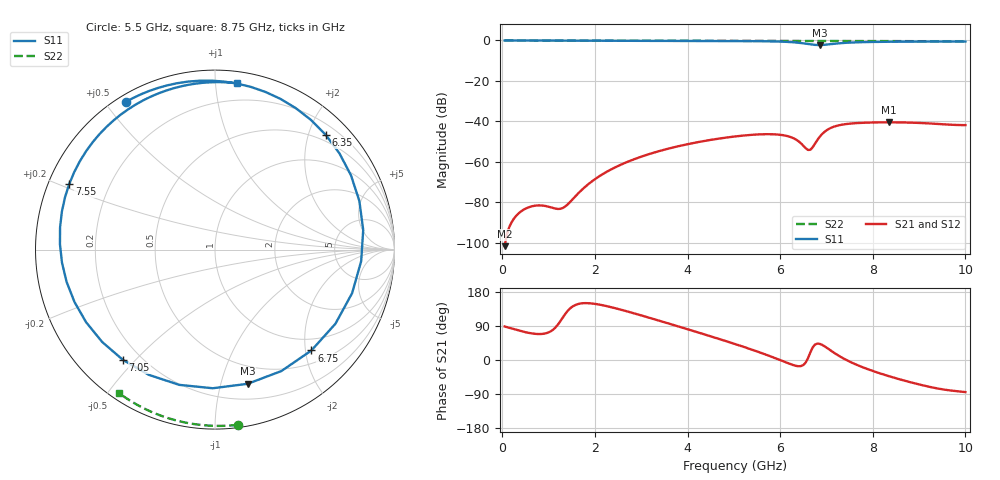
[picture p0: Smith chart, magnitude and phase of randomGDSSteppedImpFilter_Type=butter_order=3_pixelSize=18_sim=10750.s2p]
! freq	dB(S11)	phase(S11)	dB(S12)	phase(S12)
!  dB(S21)	phase(S21)	dB(S22)	phase(S22)
!S-par simulation data
#  GHz  S  DB  R 50
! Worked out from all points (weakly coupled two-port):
!   200 points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, 50 MHz to 10 GHz, reference 50 ohm
!   highest |S21| = -40.48 dB at 8.35 GHz (marker M1); lowest = -101.7 dB at 50 MHz (marker M2)
!   lowest |S11| = -2.3 dB at 6.85 GHz (marker M3), VSWR 7.68, Z = 16.6 - j60.9 ohm
!   |S11| at or under -10 dB: nowhere
!   |S22| runs from -0.5 to 0.0 dB; largest |S21 - S12| = 0
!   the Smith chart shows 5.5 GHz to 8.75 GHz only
!   S11 on the Smith chart (normalised r, x): 5.5 GHz: 0.03, +0.56; 6.35 GHz: 0.38, +2.30; 6.75 GHz: 0.75, -2.12; 7.05 GHz: 0.13, -0.46; 7.55 GHz: 0.06, +0.21; 8.75 GHz: 0.08, +1.14
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0.05  -0.00 -2.8  -101.72 88.4  -101.72 88.4  -0.00 -0.8
0.8  -0.05 -43.6  -81.56 68.5  -81.56 68.5  -0.01 -12.8
1.45  -0.09 -76.1  -80.21 134.6  -80.21 134.6  -0.03 -23.1
1.75  -0.10 -89.9  -73.18 149.9  -73.18 149.9  -0.04 -27.8
2.45  -0.13 -119.5  -62.61 136.4  -62.61 136.4  -0.05 -38.6
3.4  -0.16 -155.3  -54.63 103.3  -54.63 103.3  -0.07 -52.9
4.25  -0.20 174.2  -50.17 71.9  -50.17 71.9  -0.09 -65.2
5.05  -0.27 142.8  -47.40 41.2  -47.40 41.2  -0.12 -76.4
5.5  -0.34 121.1  -46.50 22.7  -46.50 22.7  -0.13 -82.6
6  -0.56 87.0  -46.64 -0.2  -46.64 -0.2  -0.16 -89.2
6.35  -1.03 46.0  -49.12 -15.6  -49.12 -15.6  -0.17 -93.8
6.55  -1.59 7.6  -53.23 -6.9  -53.23 -6.9  -0.18 -96.4
6.7  -2.07 -31.6  -52.90 32.7  -52.90 32.7  -0.19 -98.4
6.75  -2.19 -46.3  -51.13 40.5  -51.13 40.5  -0.19 -99.0
6.85  -2.28 -76.3  -47.76 42.8  -47.76 42.8  -0.20 -100.3
7.05  -1.93 -129.8  -43.76 28.6  -43.76 28.6  -0.21 -102.8
7.25  -1.45 -167.7  -42.05 12.3  -42.05 12.3  -0.22 -105.4
7.55  -1.01 155.8  -41.04 -7.1  -41.04 -7.1  -0.24 -109.2
7.9  -0.77 128.1  -40.62 -24.6  -40.62 -24.6  -0.27 -113.5
8.35  -0.64 101.9  -40.48 -42.7  -40.48 -42.7  -0.31 -119.1
8.75  -0.58 82.4  -40.60 -56.6  -40.60 -56.6  -0.34 -123.9
10  -0.54 29.3  -41.86 -84.7  -41.86 -84.7  -0.47 -139.1
